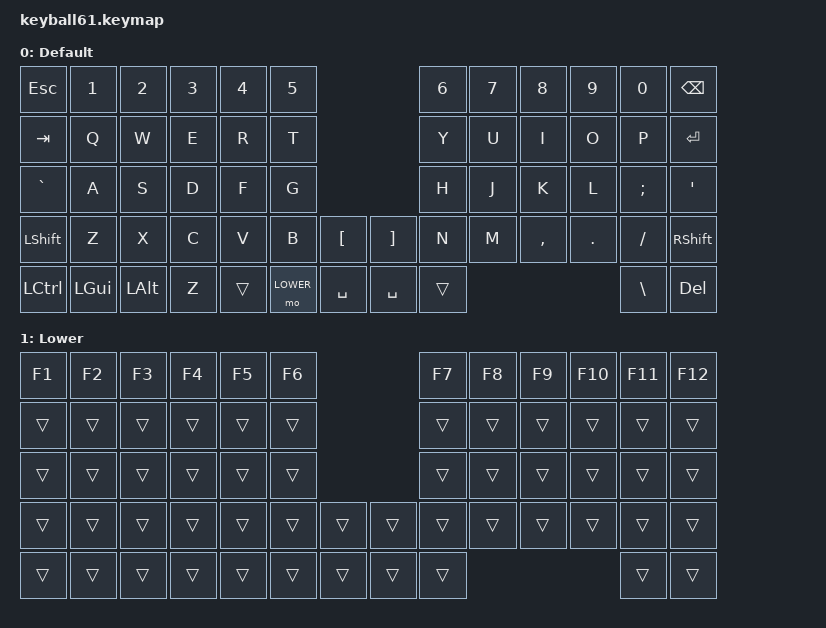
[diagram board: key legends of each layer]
#include <behaviors.dtsi>
#include <dt-bindings/zmk/keys.h>

#define LOWER 1

/ {
    keymap {
        compatible = "zmk,keymap";

        default_layer {
            display-name = "Default";
            bindings = <
                &kp ESC   &kp N1    &kp N2    &kp N3    &kp N4    &kp N5                             &kp N6    &kp N7    &kp N8    &kp N9    &kp N0    &kp BSPC
                &kp TAB   &kp Q     &kp W     &kp E     &kp R     &kp T                              &kp Y     &kp U     &kp I     &kp O     &kp P     &kp ENTER
                &kp GRAVE &kp A     &kp S     &kp D     &kp F     &kp G                              &kp H     &kp J     &kp K     &kp L     &kp SEMI  &kp APOS
                &kp LSHFT &kp Z     &kp X     &kp C     &kp V     &kp B     &kp LBKT       &kp RBKT  &kp N     &kp M     &kp COMMA &kp DOT   &kp FSLH  &kp RSHFT
                &kp LCTRL &kp LGUI  &kp LALT  &kp Z     &trans    &mo LOWER &kp SPACE      &kp SPACE &trans                                  &kp BSLH  &kp DEL
            >;
        };

        lower_layer {
            display-name = "Lower";
            bindings = <
                &kp F1    &kp F2    &kp F3    &kp F4    &kp F5    &kp F6                             &kp F7    &kp F8    &kp F9    &kp F10   &kp F11   &kp F12
                &trans    &trans    &trans    &trans    &trans    &trans                             &trans    &trans    &trans    &trans    &trans    &trans
                &trans    &trans    &trans    &trans    &trans    &trans                             &trans    &trans    &trans    &trans    &trans    &trans
                &trans    &trans    &trans    &trans    &trans    &trans    &trans         &trans    &trans    &trans    &trans    &trans    &trans    &trans
                &trans    &trans    &trans    &trans    &trans    &trans    &trans         &trans    &trans                                  &trans    &trans
            >;
        };
    };
};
